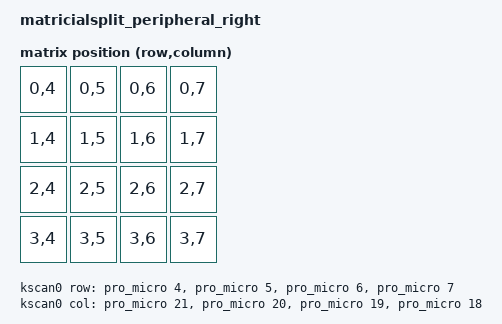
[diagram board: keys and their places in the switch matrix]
/*
 * Copyright (c) 2020 The ZMK Contributors
 *
 * SPDX-License-Identifier: MIT
 */

#include <dt-bindings/zmk/matrix_transform.h>

/ {
    model = "matricialsplit_peripheral_right";
    compatible = "matricialsplit_peripheral_right";

    chosen {
        zmk,kscan = &kscan0;
        zmk,matrix_transform = &default_transform;
    };

    default_transform: keymap_transform_0 {
        compatible = "zmk,matrix-transform";
        columns = <4>;
        rows = <4>;
        // col-offset = <4>;
        map = <
            RC(0,4) RC(0,5) RC(0,6) RC(0,7)
            RC(1,4) RC(1,5) RC(1,6) RC(1,7)
            RC(2,4) RC(2,5) RC(2,6) RC(2,7)
            RC(3,4) RC(3,5) RC(3,6) RC(3,7)
        >;
    };

    kscan0: kscan {
        compatible = "zmk,kscan-gpio-matrix";
        diode-direction = "row2col";
        
        row-gpios
            = <&pro_micro 4 GPIO_ACTIVE_HIGH>
            , <&pro_micro 5 GPIO_ACTIVE_HIGH>
            , <&pro_micro 6 GPIO_ACTIVE_HIGH>
            , <&pro_micro 7 GPIO_ACTIVE_HIGH>
            ;
        
        col-gpios
            = <&pro_micro 21 (GPIO_ACTIVE_HIGH | GPIO_PULL_DOWN)>
            , <&pro_micro 20 (GPIO_ACTIVE_HIGH | GPIO_PULL_DOWN)>
            , <&pro_micro 19 (GPIO_ACTIVE_HIGH | GPIO_PULL_DOWN)>
            , <&pro_micro 18 (GPIO_ACTIVE_HIGH | GPIO_PULL_DOWN)>
            ;
    };
};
